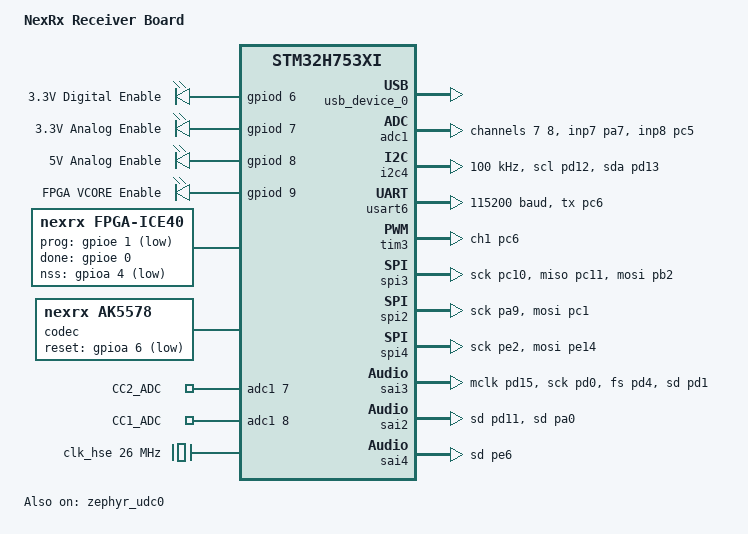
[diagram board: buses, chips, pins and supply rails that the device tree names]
/dts-v1/;
#include <st/h7/stm32h753Xi.dtsi>
#include <st/h7/stm32h753v(i-g)tx-pinctrl.dtsi>

/ {
	model = "NexRx Receiver Board";
	compatible = "nexrx,nexrx-rx";

	chosen {
		zephyr,sram = &sram0;
		zephyr,flash = &flash0;
		zephyr,dtcm = &dtcm;
		zephyr,console = &usart6;
		zephyr,shell-uart = &usart6;
	};

	leds {
		compatible = "gpio-leds";
		pwr_3v3: pwr_3v3 {
			gpios = <&gpiod 6 GPIO_ACTIVE_HIGH>;
			label = "3.3V Digital Enable";
		};
		pwr_3va: pwr_3va {
			gpios = <&gpiod 7 GPIO_ACTIVE_HIGH>;
			label = "3.3V Analog Enable";
		};
		pwr_5va: pwr_5va {
			gpios = <&gpiod 8 GPIO_ACTIVE_HIGH>;
			label = "5V Analog Enable";
		};
		pwr_fpgacore: pwr_fpgacore {
			gpios = <&gpiod 9 GPIO_ACTIVE_HIGH>;
			label = "FPGA VCORE Enable";
		};
	};

	nexbus {
		compatible = "nexrx,nexbus";
		pinctrl-0 = <&tim3_ch1_pc6 &usart6_tx_pc6>;
		pinctrl-names = "default";
		status = "okay";
	};

	fpga {
		compatible = "nexrx,fpga-ice40";
		prog-gpios = <&gpioe 1 GPIO_ACTIVE_LOW>;
		done-gpios = <&gpioe 0 GPIO_ACTIVE_HIGH>;
		nss-gpios = <&gpioa 4 GPIO_ACTIVE_LOW>;
		status = "okay";
	};

	codec {
		compatible = "nexrx,ak5578";
		reset-gpios = <&gpioa 6 GPIO_ACTIVE_LOW>;
		status = "okay";
	};

	zephyr,user {
		/* USB-C CC Monitor ADC Channels */
		io-channels = <&adc1 7>, <&adc1 8>;
		io-channel-names = "CC2_ADC", "CC1_ADC";
	};
};

&zephyr_udc0 {
	status = "okay";
	pinctrl-0 = <&otg_hs_ulpi_ck_pa5 &otg_hs_ulpi_d0_pa3
		     &otg_hs_ulpi_d1_pb0 &otg_hs_ulpi_d2_pb1
		     &otg_hs_ulpi_d3_pb10 &otg_hs_ulpi_d4_pb11
		     &otg_hs_ulpi_d5_pb12 &otg_hs_ulpi_d6_pb13
		     &otg_hs_ulpi_d7_pb5 &otg_hs_ulpi_dir_pc2
		     &otg_hs_ulpi_nxt_pc3 &otg_hs_ulpi_stp_pc0>;
	pinctrl-names = "default";

	usb_device_0: usb_device_0 {
		compatible = "zephyr,usb-device";
		status = "okay";

		cdc_acm_uart0: cdc_acm_uart0 {
			compatible = "zephyr,cdc-acm-uart";
			label = "CDC_ACM_0";
		};

		cdc_acm_uart1: cdc_acm_uart1 {
			compatible = "zephyr,cdc-acm-uart";
			label = "CDC_ACM_1";
		};

		/* Custom Vendor Bulk for IQ Data Pump */
		iq_data_pump: iq_data_pump {
			compatible = "zephyr,usb-vendor-bulk";
			status = "okay";
		};
	};
};

&adc1 {
	pinctrl-0 = <&adc1_inp7_pa7 &adc1_inp8_pc5>;
	pinctrl-names = "default";
	status = "okay";
	#address-cells = <1>;
	#size-cells = <0>;
	channel@7 {
		reg = <7>;
		zephyr,gain = "ADC_GAIN_1";
		zephyr,reference = "ADC_REF_INTERNAL";
		zephyr,acquisition-time = <ADC_ACQ_TIME_DEFAULT>;
		zephyr,resolution = <12>;
	};
	channel@8 {
		reg = <8>;
		zephyr,gain = "ADC_GAIN_1";
		zephyr,reference = "ADC_REF_INTERNAL";
		zephyr,acquisition-time = <ADC_ACQ_TIME_DEFAULT>;
		zephyr,resolution = <12>;
	};
};

&i2c4 {
	pinctrl-0 = <&i2c4_scl_pd12 &i2c4_sda_pd13>;
	pinctrl-names = "default";
	status = "okay";
	clock-frequency = <I2C_BITRATE_STANDARD>;
};

&clk_hse {
	clock-frequency = <DT_FREQ_M(26)>;
	status = "okay";
};

&pll {
	div-m = <13>;
	mul-n = <400>;
	div-p = <2>;
	div-q = <2>;
	div-r = <2>;
	clocks = <&clk_hse>;
	status = "okay";
};

&rcc {
	clocks = <&pll>;
	clock-frequency = <DT_FREQ_M(400)>;
	d1cpre = <1>;
	hpre = <2>;
	d1ppre = <2>;
	d2ppre2 = <2>;
	d2ppre1 = <2>;
	d3ppre = <2>;
};

&usart6 {
	pinctrl-0 = <&usart6_tx_pc6>;
	pinctrl-names = "default";
	current-speed = <115200>;
	status = "okay";
};

&tim3 {
	status = "okay";
	st,prescaler = <0>;
	pinctrl-0 = <&tim3_ch1_pc6>;
	pinctrl-names = "default";
	dmas = <&dma1 0 22 0x440>; 
	dma-names = "ch1";
	pwm1: pwm {
		status = "okay";
		st,prescaler = <0>;
	};
};

&spi3 {
	pinctrl-0 = <&spi3_sck_pc10 &spi3_miso_pc11 &spi3_mosi_pb2>;
	pinctrl-names = "default";
	status = "okay";
};

&spi2 {
	pinctrl-0 = <&spi2_sck_pa9 &spi2_mosi_pc1>;
	pinctrl-names = "default";
	cs-gpios = <&gpioa 11 GPIO_ACTIVE_LOW>;
	status = "okay";
};

&spi4 {
	pinctrl-0 = <&spi4_sck_pe2 &spi4_mosi_pe14>;
	pinctrl-names = "default";
	cs-gpios = <&gpioe 4 GPIO_ACTIVE_LOW>;
	status = "okay";
};

&sai3 {
	status = "okay";
	pinctrl-0 = <&sai3_a_mclk_pd15 &sai3_a_sck_pd0 
		     &sai3_a_fs_pd4 &sai3_a_sd_pd1>;
	pinctrl-names = "default";
	sai3_a: sai3_a {
		status = "okay";
		st,sync-type = "master";
		dmas = <&dma1 1 89 0x440>; 
		dma-names = "rx";
	};
};

&sai2 {
	status = "okay";
	pinctrl-0 = <&sai2_a_sd_pd11 &sai2_b_sd_pa0>;
	pinctrl-names = "default";
	sai2_a: sai2_a {
		status = "okay";
		st,sync-type = "slave";
		st,sync-source = <&sai3_a>;
		dmas = <&dma1 2 87 0x440>; 
		dma-names = "rx";
	};
	sai2_b: sai2_b {
		status = "okay";
		st,sync-type = "slave";
		st,sync-source = <&sai3_a>;
		dmas = <&dma1 3 88 0x440>; 
		dma-names = "rx";
	};
};

&sai4 {
	status = "okay";
	pinctrl-0 = <&sai4_a_sd_pe6>;
	pinctrl-names = "default";
	sai4_a: sai4_a {
		status = "okay";
		st,sync-type = "slave";
		st,sync-source = <&sai3_a>;
		dmas = <&dma1 4 102 0x440>; 
		dma-names = "rx";
	};
};
